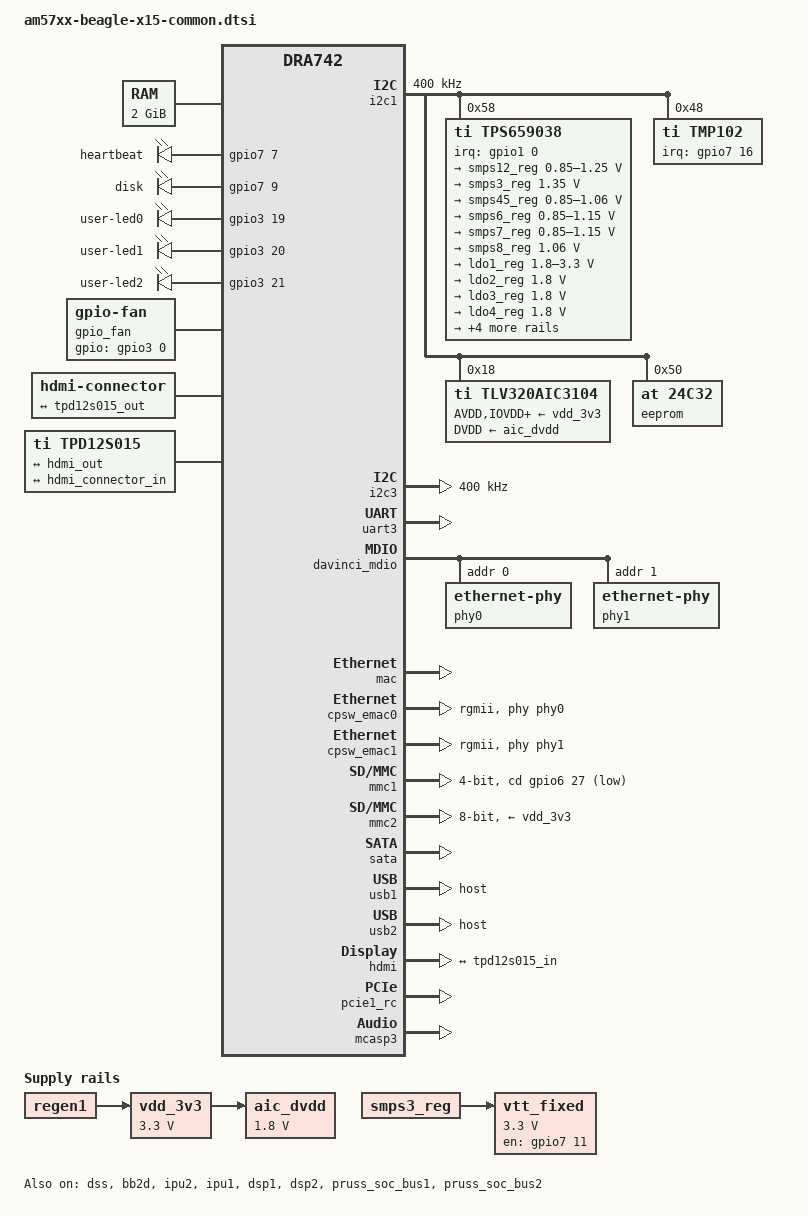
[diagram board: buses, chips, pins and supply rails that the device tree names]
/*
 * Copyright (C) 2014-2016 Texas Instruments Incorporated - http://www.ti.com/
 *
 * This program is free software; you can redistribute it and/or modify
 * it under the terms of the GNU General Public License version 2 as
 * published by the Free Software Foundation.
 */
/dts-v1/;

#include "dra74x.dtsi"
#include "am57xx-commercial-grade.dtsi"
#include "dra74x-mmc-iodelay.dtsi"
#include <dt-bindings/gpio/gpio.h>
#include <dt-bindings/interrupt-controller/irq.h>

/ {
	compatible = "ti,am572x-beagle-x15", "ti,am5728", "ti,dra742", "ti,dra74", "ti,dra7";

	aliases {
		rtc1 = &tps659038_rtc;
		rtc2 = &rtc;
		display0 = &hdmi0;

		sound0 = &hdmi;
		sound1 = &sound0;
	};

	chosen {
		stdout-path = &uart3;
	};

	memory@0 {
		device_type = "memory";
		reg = <0x0 0x80000000 0x0 0x80000000>;
	};

	reserved-memory {
		#address-cells = <2>;
		#size-cells = <2>;
		ranges;

		ipu2_cma_pool: ipu2_cma@95800000 {
			compatible = "shared-dma-pool";
			reg = <0x0 0x95800000 0x0 0x3800000>;
			reusable;
			status = "okay";
		};

		dsp1_cma_pool: dsp1_cma@99000000 {
			compatible = "shared-dma-pool";
			reg = <0x0 0x99000000 0x0 0x4000000>;
			reusable;
			status = "okay";
		};

		ipu1_cma_pool: ipu1_cma@9d000000 {
			compatible = "shared-dma-pool";
			reg = <0x0 0x9d000000 0x0 0x2000000>;
			reusable;
			status = "okay";
		};

		dsp2_cma_pool: dsp2_cma@9f000000 {
			compatible = "shared-dma-pool";
			reg = <0x0 0x9f000000 0x0 0x800000>;
			reusable;
			status = "okay";
		};

		dsp2dsp_shm: dsp2dsp_shm@bfc00000 {
			reg = <0x0 0xbfc00000 0x0 0x400000>;
			no-map;
			status = "okay";
		};
	};

	vdd_3v3: fixedregulator-vdd_3v3 {
		compatible = "regulator-fixed";
		regulator-name = "vdd_3v3";
		vin-supply = <&regen1>;
		regulator-min-microvolt = <3300000>;
		regulator-max-microvolt = <3300000>;
	};

	aic_dvdd: fixedregulator-aic_dvdd {
		compatible = "regulator-fixed";
		regulator-name = "aic_dvdd_fixed";
		vin-supply = <&vdd_3v3>;
		regulator-min-microvolt = <1800000>;
		regulator-max-microvolt = <1800000>;
	};

	vtt_fixed: fixedregulator-vtt {
		/* TPS51200 */
		compatible = "regulator-fixed";
		regulator-name = "vtt_fixed";
		vin-supply = <&smps3_reg>;
		regulator-min-microvolt = <3300000>;
		regulator-max-microvolt = <3300000>;
		regulator-always-on;
		regulator-boot-on;
		enable-active-high;
		gpio = <&gpio7 11 GPIO_ACTIVE_HIGH>;
	};

	leds {
		pinctrl-names = "default";
		pinctrl-0 = <&leds_pins_default>;
		compatible = "gpio-leds";

		led0 {
			label = "heartbeat";
			gpios = <&gpio7 7 GPIO_ACTIVE_HIGH>;
			linux,default-trigger = "heartbeat";
			default-state = "off";
		};

		led1 {
			label = "disk";
			gpios = <&gpio7 9 GPIO_ACTIVE_HIGH>;
			linux,default-trigger = "mmc2";
			default-state = "off";
		};

		led2 {
			label = "user-led0";
			gpios = <&gpio3 19 GPIO_ACTIVE_HIGH>;
			default-state = "on";
		};

		led3 {
			label = "user-led1";
			gpios = <&gpio3 20 GPIO_ACTIVE_HIGH>;
			default-state = "on";
		};

		led4 {
			label = "user-led2";
			gpios = <&gpio3 21 GPIO_ACTIVE_HIGH>;
			default-state = "on";
		};
	};

	gpio_fan: gpio_fan {
		/* Based on 5v 500mA AFB02505HHB */
		compatible = "gpio-fan";
		pinctrl-names = "default";
		pinctrl-0 = <&fan_pins_default>;
		gpios =  <&gpio3 0 GPIO_ACTIVE_HIGH>;
		gpio-fan,speed-map = <0     0>,
				     <10000 1>;
		#cooling-cells = <2>;
	};

	hdmi0: connector {
		pinctrl-names = "default";
		pinctrl-0 = <&hdmi_pins_default>;
		compatible = "hdmi-connector";
		label = "hdmi";

		type = "a";

		port {
			hdmi_connector_in: endpoint {
				remote-endpoint = <&tpd12s015_out>;
			};
		};
	};

	tpd12s015: encoder {
		compatible = "ti,tpd12s015";

		ports {
			#address-cells = <1>;
			#size-cells = <0>;

			port@0 {
				reg = <0>;

				tpd12s015_in: endpoint {
					remote-endpoint = <&hdmi_out>;
				};
			};

			port@1 {
				reg = <1>;

				tpd12s015_out: endpoint {
					remote-endpoint = <&hdmi_connector_in>;
				};
			};
		};
	};

	sound0: sound0 {
		compatible = "simple-audio-card";
		simple-audio-card,name = "BeagleBoard-X15";
		simple-audio-card,widgets =
			"Line", "Line Out",
			"Line", "Line In";
		simple-audio-card,routing =
			"Line Out",	"LLOUT",
			"Line Out",	"RLOUT",
			"MIC2L",	"Line In",
			"MIC2R",	"Line In";
		simple-audio-card,format = "dsp_b";
		simple-audio-card,bitclock-master = <&sound0_master>;
		simple-audio-card,frame-master = <&sound0_master>;
		simple-audio-card,bitclock-inversion;

		simple-audio-card,cpu {
			sound-dai = <&mcasp3>;
		};

		sound0_master: simple-audio-card,codec {
			sound-dai = <&tlv320aic3104>;
			clocks = <&clkout2_clk>;
		};
	};
};

&dra7_pmx_core {
	usb1_pins_default: usb1_pins_defalut {
		pinctrl-single,pins = <
			DRA7XX_CORE_IOPAD(0x3680, (PIN_OUTPUT | SLEWCONTROL | MUX_MODE0)) /* usb1_drvvbus.usb1_drvvbus */
		>;
	};

	hdmi_pins_default: hdmi_pins_default {
		pinctrl-single,pins = <
			DRA7XX_CORE_IOPAD(0x37bc, (PIN_INPUT_PULLUP | SLEWCONTROL | MUX_MODE6)) /* spi1_cs3.hdmi1_cec */
			DRA7XX_CORE_IOPAD(0x3808, (PIN_INPUT_PULLUP | MUX_MODE1)) /* i2c2_sda.hdmi1_ddc_scl */
			DRA7XX_CORE_IOPAD(0x380c, (PIN_INPUT_PULLUP | MUX_MODE1)) /* i2c2_scl.hdmi1_ddc_sda */
		>;
	};

	rgmii0_pins_default: rgmii0_pins_default {
		pinctrl-single,pins = <
			DRA7XX_CORE_IOPAD(0x3650, (PIN_OUTPUT | MODE_SELECT | MUX_MODE0)) /* rgmii0_txc.rgmii0_txc */
			DRA7XX_CORE_IOPAD(0x3654, (PIN_OUTPUT | MODE_SELECT | MUX_MODE0)) /* rgmii0_txcl.rgmii0_txcl */
			DRA7XX_CORE_IOPAD(0x3658, (PIN_OUTPUT | MODE_SELECT | MUX_MODE0)) /* rgmii0_txd3.rgmii0_txd3 */
			DRA7XX_CORE_IOPAD(0x365c, (PIN_OUTPUT | MODE_SELECT | MUX_MODE0)) /* rgmii0_txd2.rgmii0_txd2 */
			DRA7XX_CORE_IOPAD(0x3660, (PIN_OUTPUT | MODE_SELECT | MUX_MODE0)) /* rgmii0_txd1.rgmii0_txd1 */
			DRA7XX_CORE_IOPAD(0x3664, (PIN_OUTPUT | MODE_SELECT | MUX_MODE0)) /* rgmii0_txd0.rgmii0_txd0 */
			DRA7XX_CORE_IOPAD(0x3668, (PIN_INPUT | MODE_SELECT | MUX_MODE0)) /* rgmii0_rxc.rgmii0_rxc */
			DRA7XX_CORE_IOPAD(0x366c, (PIN_INPUT | MODE_SELECT | MUX_MODE0)) /* rgmii0_rxcl.rgmii0_rxcl */
			DRA7XX_CORE_IOPAD(0x3670, (PIN_INPUT | MODE_SELECT | MUX_MODE0)) /* rgmii0_rxd3.rgmii0_rxd3 */
			DRA7XX_CORE_IOPAD(0x3674, (PIN_INPUT | MODE_SELECT | MUX_MODE0)) /* rgmii0_rxd2.rgmii0_rxd2 */
			DRA7XX_CORE_IOPAD(0x3678, (PIN_INPUT | MODE_SELECT | MUX_MODE0)) /* rgmii0_rxd1.rgmii0_rxd1 */
			DRA7XX_CORE_IOPAD(0x367c, (PIN_INPUT | MODE_SELECT | MUX_MODE0)) /* rgmii0_rxd0.rgmii0_rxd0 */
		>;
	};

	rgmii1_pins_default: rgmii1_pins_default {
		pinctrl-single,pins = <
			DRA7XX_CORE_IOPAD(0x3598, (PIN_OUTPUT | MODE_SELECT | MUX_MODE3)) /* rgmii1_txc.rgmii1_txc */
			DRA7XX_CORE_IOPAD(0x359c, (PIN_OUTPUT | MODE_SELECT | MUX_MODE3)) /* rgmii1_txcl.rgmii1_txcl */
			DRA7XX_CORE_IOPAD(0x35a0, (PIN_OUTPUT | MODE_SELECT | MUX_MODE3)) /* rgmii1_txd3.rgmii1_txd3 */
			DRA7XX_CORE_IOPAD(0x35a4, (PIN_OUTPUT | MODE_SELECT | MUX_MODE3)) /* rgmii1_txd2.rgmii1_txd2 */
			DRA7XX_CORE_IOPAD(0x35a8, (PIN_OUTPUT | MODE_SELECT | MUX_MODE3)) /* rgmii1_txd1.rgmii1_txd1 */
			DRA7XX_CORE_IOPAD(0x35ac, (PIN_OUTPUT | MODE_SELECT | MUX_MODE3)) /* rgmii1_txd0.rgmii1_txd0 */
			DRA7XX_CORE_IOPAD(0x35b0, (PIN_INPUT | MODE_SELECT | MUX_MODE3)) /* rgmii1_rxc.rgmii1_rxc */
			DRA7XX_CORE_IOPAD(0x35b4, (PIN_INPUT | MODE_SELECT | MUX_MODE3)) /* rgmii1_rxcl.rgmii1_rxcl */
			DRA7XX_CORE_IOPAD(0x35b8, (PIN_INPUT | MODE_SELECT | MUX_MODE3)) /* rgmii1_rxd3.rgmii1_rxd3 */
			DRA7XX_CORE_IOPAD(0x35bc, (PIN_INPUT | MODE_SELECT | MUX_MODE3)) /* rgmii1_rxd2.rgmii1_rxd2 */
			DRA7XX_CORE_IOPAD(0x35c0, (PIN_INPUT | MODE_SELECT | MUX_MODE3)) /* rgmii1_rxd1.rgmii1_rxd1 */
			DRA7XX_CORE_IOPAD(0x35c4, (PIN_INPUT | MODE_SELECT | MUX_MODE3)) /* rgmii1_rxd0.rgmii1_rxd0 */
		>;
	};

	i2c1_pins_default: i2c1_pins_default {
		pinctrl-single,pins = <
			DRA7XX_CORE_IOPAD(0x3800, (PIN_INPUT_PULLUP | MUX_MODE0)) /* i2c1_sda.sda */
			DRA7XX_CORE_IOPAD(0x3804, (PIN_INPUT_PULLUP | MUX_MODE0)) /* i2c1_scl.scl */
		>;
	};

	fan_pins_default: fan_pins_default {
		pinctrl-single,pins = <
			DRA7XX_CORE_IOPAD(0x34e4, (PIN_OUTPUT | MUX_MODE14)) /* vin1a_de0.gpio3_0 */
		>;
	};

	leds_pins_default: leds_pins_default {
		pinctrl-single,pins = <
			DRA7XX_CORE_IOPAD(0x37a4, (PIN_OUTPUT | MUX_MODE14)) /* spi1_sclk.gpio7_7 (som led1) A25 */
			DRA7XX_CORE_IOPAD(0x37ac, (PIN_OUTPUT | MUX_MODE14)) /* spi1_d0.gpio7_9 (som led2) B25 */
			DRA7XX_CORE_IOPAD(0x3530, (PIN_OUTPUT | MUX_MODE14)) /* vin1a_d15.gpio3_19 */
			DRA7XX_CORE_IOPAD(0x3534, (PIN_OUTPUT | MUX_MODE14)) /* vin1a_d16.gpio3_20 */
			DRA7XX_CORE_IOPAD(0x3538, (PIN_OUTPUT | MUX_MODE14)) /* vin1a_d17.gpio3_21 */
		>;
	};
};

&i2c1 {
	status = "okay";
	clock-frequency = <400000>;

	tps659038: tps659038@58 {
		compatible = "ti,tps659038";
		reg = <0x58>;
		interrupt-parent = <&gpio1>;
		interrupts = <0 IRQ_TYPE_LEVEL_LOW>;

		#interrupt-cells = <2>;
		interrupt-controller;

		ti,system-power-controller;
		ti,palmas-override-powerhold;

		tps659038_pmic {
			compatible = "ti,tps659038-pmic";

			regulators {
				smps12_reg: smps12 {
					/* VDD_MPU */
					regulator-name = "smps12";
					regulator-min-microvolt = < 850000>;
					regulator-max-microvolt = <1250000>;
					regulator-always-on;
					regulator-boot-on;
				};

				smps3_reg: smps3 {
					/* VDD_DDR */
					regulator-name = "smps3";
					regulator-min-microvolt = <1350000>;
					regulator-max-microvolt = <1350000>;
					regulator-always-on;
					regulator-boot-on;
				};

				smps45_reg: smps45 {
					/* VDD_DSPEVE, VDD_IVA, VDD_GPU */
					regulator-name = "smps45";
					regulator-min-microvolt = < 850000>;
					regulator-max-microvolt = <1060000>;
					regulator-always-on;
					regulator-boot-on;
				};

				smps6_reg: smps6 {
					/* VDD_CORE */
					regulator-name = "smps6";
					regulator-min-microvolt = <850000>;
					regulator-max-microvolt = <1150000>;
					regulator-always-on;
					regulator-boot-on;
				};

				smps7_reg: smps7 {
					/* VDD_CORE */
					regulator-name = "smps7";
					regulator-min-microvolt = <850000>;
					regulator-max-microvolt = <1150000>;
					regulator-always-on;
					regulator-boot-on;
				};

				smps8_reg: smps8 {
					/* VDD_1V06 */
					regulator-name = "smps8";
					regulator-min-microvolt = <1060000>;
					regulator-max-microvolt = <1060000>;
					regulator-always-on;
					regulator-boot-on;
				};

				/* SMPS9 unused */

				ldo1_reg: ldo1 {
					/* VDD_SD / VDDSHV8  */
					regulator-name = "ldo1";
					regulator-min-microvolt = <1800000>;
					regulator-max-microvolt = <3300000>;
					regulator-boot-on;
					regulator-always-on;
				};

				ldo2_reg: ldo2 {
					/* VDD_SHV5 */
					regulator-name = "ldo2";
					regulator-min-microvolt = <1800000>;
					regulator-max-microvolt = <1800000>;
					regulator-always-on;
					regulator-boot-on;
				};

				ldo3_reg: ldo3 {
					/* VDDA_1V8_PHYA */
					regulator-name = "ldo3";
					regulator-min-microvolt = <1800000>;
					regulator-max-microvolt = <1800000>;
					regulator-always-on;
					regulator-boot-on;
				};

				ldo4_reg: ldo4 {
					/* VDDA_1V8_PHYB */
					regulator-name = "ldo4";
					regulator-min-microvolt = <1800000>;
					regulator-max-microvolt = <1800000>;
					regulator-always-on;
					regulator-boot-on;
				};

				ldo9_reg: ldo9 {
					/* VDD_RTC */
					regulator-name = "ldo9";
					regulator-min-microvolt = <1050000>;
					regulator-max-microvolt = <1050000>;
					regulator-always-on;
					regulator-boot-on;
				};

				ldoln_reg: ldoln {
					/* VDDA_1V8_PLL */
					regulator-name = "ldoln";
					regulator-min-microvolt = <1800000>;
					regulator-max-microvolt = <1800000>;
					regulator-always-on;
					regulator-boot-on;
				};

				ldousb_reg: ldousb {
					/* VDDA_3V_USB: VDDA_USBHS33 */
					regulator-name = "ldousb";
					regulator-min-microvolt = <3300000>;
					regulator-max-microvolt = <3300000>;
					regulator-boot-on;
				};

				regen1: regen1 {
					/* VDD_3V3_ON */
					regulator-name = "regen1";
					regulator-boot-on;
					regulator-always-on;
				};
			};
		};

		tps659038_rtc: tps659038_rtc {
			compatible = "ti,palmas-rtc";
			interrupt-parent = <&tps659038>;
			interrupts = <8 IRQ_TYPE_EDGE_FALLING>;
			wakeup-source;
		};

		tps659038_pwr_button: tps659038_pwr_button {
			compatible = "ti,palmas-pwrbutton";
			interrupt-parent = <&tps659038>;
			interrupts = <1 IRQ_TYPE_EDGE_FALLING>;
			wakeup-source;
			ti,palmas-long-press-seconds = <12>;
		};

		tps659038_gpio: tps659038_gpio {
			compatible = "ti,palmas-gpio";
			gpio-controller;
			#gpio-cells = <2>;
		};

		extcon_usb2: tps659038_usb {
			compatible = "ti,palmas-usb-vid";
			ti,enable-vbus-detection;
			vbus-gpio = <&gpio4 21 GPIO_ACTIVE_HIGH>;
		};

	};

	tmp102: tmp102@48 {
		compatible = "ti,tmp102";
		reg = <0x48>;
		interrupt-parent = <&gpio7>;
		interrupts = <16 IRQ_TYPE_LEVEL_LOW>;
		#thermal-sensor-cells = <1>;
	};

	tlv320aic3104: tlv320aic3104@18 {
		#sound-dai-cells = <0>;
		compatible = "ti,tlv320aic3104";
		reg = <0x18>;
		assigned-clocks = <&clkoutmux2_clk_mux>;
		assigned-clock-parents = <&sys_clk2_dclk_div>;

		status = "okay";
		adc-settle-ms = <40>;

		AVDD-supply = <&vdd_3v3>;
		IOVDD-supply = <&vdd_3v3>;
		DRVDD-supply = <&vdd_3v3>;
		DVDD-supply = <&aic_dvdd>;
	};

	eeprom: eeprom@50 {
		compatible = "at,24c32";
		reg = <0x50>;
	};
};

&i2c3 {
	status = "okay";
	clock-frequency = <400000>;
};

&gpio7 {
	ti,no-reset-on-init;
	ti,no-idle-on-init;
};

&cpu0 {
	vdd-supply = <&smps12_reg>;
	voltage-tolerance = <1>;
};

&dpll_dsp_ck {
    assigned-clock-rates = <750000000>;
};

&dpll_dsp_m2_ck {
    assigned-clock-rates = <750000000>;
};

&dpll_dsp_m3x2_ck {
    assigned-clock-rates = <500000000>;
};

&dpll_iva_ck {
    assigned-clock-rates = <1064000000>;
};

&dpll_iva_m2_ck {
    assigned-clock-rates = <532000000>;
};

&dpll_gpu_ck {
    assigned-clock-rates = <1064000000>;
};

&dpll_gpu_m2_ck {
    assigned-clock-rates = <532000000>;
};

&uart3 {
	status = "okay";
	interrupts-extended = <&crossbar_mpu GIC_SPI 69 IRQ_TYPE_LEVEL_HIGH>,
			      <&dra7_pmx_core 0x3f8>;
};

&davinci_mdio {
	phy0: ethernet-phy@0 {
		reg = <0>;
	};

	phy1: ethernet-phy@1 {
		reg = <1>;
	};
};

&mac {
	status = "okay";
};

&cpsw_emac0 {
	phy-handle = <&phy0>;
	phy-mode = "rgmii";
	dual_emac_res_vlan = <1>;
};

&cpsw_emac1 {
	phy-handle = <&phy1>;
	phy-mode = "rgmii";
	dual_emac_res_vlan = <2>;
};

&mmc1 {
	status = "okay";

	pinctrl-names = "default";
	pinctrl-0 = <&mmc1_pins_default>;

	bus-width = <4>;
	cd-gpios = <&gpio6 27 GPIO_ACTIVE_LOW>; /* gpio 219 */
};

&mmc2 {
	status = "okay";

	pinctrl-names = "default";
	pinctrl-0 = <&mmc2_pins_default>;

	vmmc-supply = <&vdd_3v3>;
	bus-width = <8>;
	ti,non-removable;
	cap-mmc-dual-data-rate;
	no-1-8-v;
};

&sata {
	status = "okay";
};

&usb2_phy1 {
	phy-supply = <&ldousb_reg>;
};

&usb2_phy2 {
	phy-supply = <&ldousb_reg>;
};

&usb1 {
	pinctrl-names = "default";
	pinctrl-0 = <&usb1_pins_default>;
	dr_mode = "host";
};

&omap_dwc3_2 {
	extcon = <&extcon_usb2>;
};

&usb2 {
	/*
	 * Stand alone usage is peripheral only.
	 * However, with some resistor modifications
	 * this port can be used via expansion connectors
	 * as "host" or "dual-role". If so, provide
	 * the necessary dr_mode override in the expansion
	 * board's DT.
	 */
	dr_mode = "host";
};

&cpu_trips {
	cpu_alert1: cpu_alert1 {
		temperature = <50000>; /* millicelsius */
		hysteresis = <2000>; /* millicelsius */
		type = "active";
	};
};

&cpu_cooling_maps {
	map1 {
		trip = <&cpu_alert1>;
		cooling-device = <&gpio_fan 1 1>;
	};
};

&dss {
	status = "ok";

	vdda_video-supply = <&ldoln_reg>;
};

&bb2d {
	status = "okay";
};

&hdmi {
	status = "ok";
	vdda-supply = <&ldo4_reg>;

	port {
		hdmi_out: endpoint {
			remote-endpoint = <&tpd12s015_in>;
		};
	};
};

&pcie1_rc {
	status = "ok";
};

&pcie1_ep {
	status = "disable";
};

&mcasp3 {
	#sound-dai-cells = <0>;
	assigned-clocks = <&mcasp3_ahclkx_mux>;
	assigned-clock-parents = <&sys_clkin2>;
	status = "okay";

	op-mode = <0>;	/* MCASP_IIS_MODE */
	tdm-slots = <2>;
	/* 4 serializers */
	serial-dir = <	/* 0: INACTIVE, 1: TX, 2: RX */
		1 2 0 0
	>;
	tx-num-evt = <32>;
	rx-num-evt = <32>;
};

&mailbox3 {
	status = "okay";
	mbox_pru1_0: mbox_pru1_0 {
		status = "okay";
	};
	mbox_pru1_1: mbox_pru1_1 {
		status = "okay";
	};
};

&mailbox4 {
	status = "okay";
	mbox_pru2_0: mbox_pru2_0 {
		status = "okay";
	};
	mbox_pru2_1: mbox_pru2_1 {
		status = "okay";
	};
};

&mailbox5 {
	status = "okay";
	mbox_ipu1_ipc3x: mbox_ipu1_ipc3x {
		status = "okay";
	};
	mbox_dsp1_ipc3x: mbox_dsp1_ipc3x {
		status = "okay";
	};
};

&mailbox6 {
	status = "okay";
	mbox_ipu2_ipc3x: mbox_ipu2_ipc3x {
		status = "okay";
	};
	mbox_dsp2_ipc3x: mbox_dsp2_ipc3x {
		status = "okay";
	};
};

&mmu0_dsp1 {
	status = "okay";
};

&mmu1_dsp1 {
	status = "okay";
};

&mmu0_dsp2 {
	status = "okay";
};

&mmu1_dsp2 {
	status = "okay";
};

&mmu_ipu1 {
	status = "okay";
};

&mmu_ipu2 {
	status = "okay";
};

&ipu2 {
	status = "okay";
	memory-region = <&ipu2_cma_pool>;
	mboxes = <&mailbox6 &mbox_ipu2_ipc3x>;
	timers = <&timer3>;
	watchdog-timers = <&timer12>, <&timer9>;
};

&ipu1 {
	status = "okay";
	memory-region = <&ipu1_cma_pool>;
	mboxes = <&mailbox5 &mbox_ipu1_ipc3x>;
	timers = <&timer11>;
	watchdog-timers = <&timer7>, <&timer8>;
};

&dsp1 {
	status = "okay";
	memory-region = <&dsp1_cma_pool>;
	mboxes = <&mailbox5 &mbox_dsp1_ipc3x>;
	timers = <&timer5>;
	watchdog-timers = <&timer10>;
};

&dsp2 {
	status = "okay";
	memory-region = <&dsp2_cma_pool>;
	mboxes = <&mailbox6 &mbox_dsp2_ipc3x>;
	timers = <&timer6>;
	watchdog-timers = <&timer13>;
};

&pruss_soc_bus1 {
	status = "okay";

	pruss1: pruss@4b200000 {
		status = "okay";

		pru1_0: pru@4b234000 {
			interrupt-parent = <&pruss1_intc>;
			interrupts = <16>, <17>;
			interrupt-names = "vring", "kick";
			status = "okay";
		};

		pru1_1: pru@4b238000 {
			interrupt-parent = <&pruss1_intc>;
			interrupts = <18>, <19>;
			interrupt-names = "vring", "kick";
			status = "okay";
		};
	};
};

&pruss_soc_bus2 {
	status = "okay";

	pruss2: pruss@4b280000 {
		status = "okay";

		pru2_0: pru@4b2b4000 {
			interrupt-parent = <&pruss2_intc>;
			interrupts = <16>, <17>;
			interrupt-names = "vring", "kick";
			status = "okay";
		};

		pru2_1: pru@4b2b8000 {
			interrupt-parent = <&pruss2_intc>;
			interrupts = <18>, <19>;
			interrupt-names = "vring", "kick";
			status = "okay";
		};
	};
};
